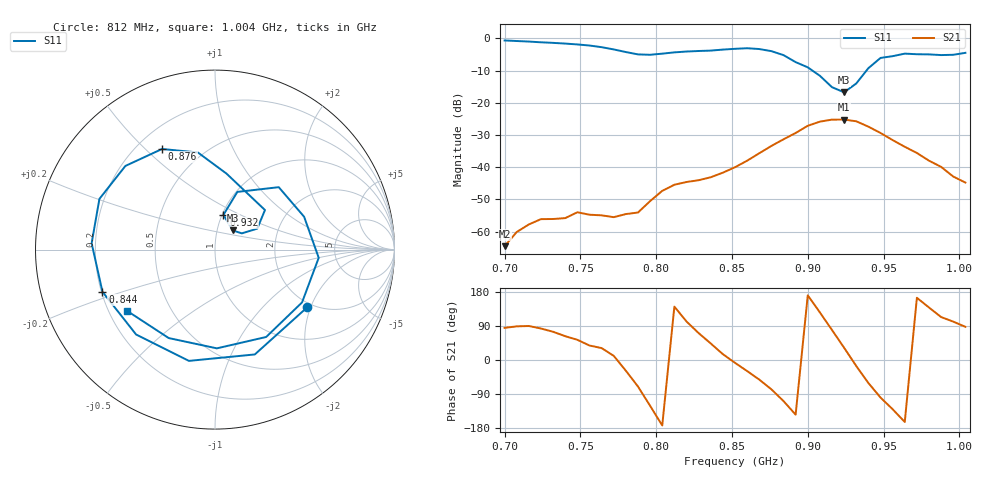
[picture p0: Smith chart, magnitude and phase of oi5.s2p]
# Hz S RI R 50
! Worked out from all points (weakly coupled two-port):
!   39 points, 700 MHz to 1.004 GHz, reference 50 ohm
!   highest |S21| = -25.20 dB at 924 MHz (marker M1); lowest = -64.5 dB at 700 MHz (marker M2)
!   lowest |S11| = -16.7 dB at 924 MHz (marker M3), VSWR 1.34, Z = 59.4 + j13 ohm
!   |S11| at or under -10 dB: 903.1 MHz to 938.7 MHz (35.66 MHz wide, 3.87 % of centre)
!   S12 and S22 are empty: the file has one direction only
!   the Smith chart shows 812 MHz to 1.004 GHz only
!   S11 on the Smith chart (normalised r, x): 812 MHz: 1.87, -1.89; 844 MHz: 0.20, -0.17; 876 MHz: 0.30, +0.56; 932 MHz: 1.02, +0.41; 1.004 GHz: 0.28, -0.29
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7e8  0.7618 0.5301  5.48e-05 0.000593  0 0  0 0
7.24e8  0.8287 -0.2607  0.000189 0.00155  0 0  0 0
7.4e8  0.4436 -0.7015  0.000741 0.00144  0 0  0 0
7.56e8  -0.1983 -0.7485  0.00144 0.00113  0 0  0 0
7.72e8  -0.649 -0.1799  0.00165 0.000318  0 0  0 0
7.8e8  -0.5658 0.2369  0.00165 -0.000891  0 0  0 0
7.88e8  -0.2085 0.5238  0.000677 -0.00186  0 0  0 0
7.96e8  0.274 0.4842  -0.00153 -0.00256  0 0  0 0
8.04e8  0.5668 0.1191  -0.00427 -0.000544  0 0  0 0
8.12e8  0.5143 -0.3211  -0.00415 0.00337  0 0  0 0
8.28e8  -0.1453 -0.62  0.00205 0.00595  0 0  0 0
8.44e8  -0.627 -0.2351  0.00794 0.00218  0 0  0 0
8.52e8  -0.6873 0.0352  0.00992 -0.0013  0 0  0 0
8.76e8  -0.2951 0.5606  0.00467 -0.0209  0 0  0 0
9e8  0.2784 0.2205  -0.0434 0.00717  0 0  0 0
9.08e8  0.2353 0.1167  -0.0296 0.0415  0 0  0 0
9.24e8  0.0986 0.107  0.0465 0.0292  0 0  0 0
9.32e8  0.0471 0.1937  0.0497 -0.0141  0 0  0 0
9.48e8  0.3551 0.3478  -0.00535 -0.0336  0 0  0 0
9.56e8  0.4965 0.1832  -0.0169 -0.0202  0 0  0 0
9.8e8  0.2851 -0.4868  -0.00945 0.00838  0 0  0 0
1.004e9  -0.4879 -0.3426  0.000247 0.00577  0 0  0 0
